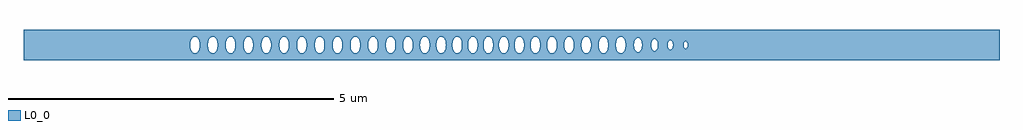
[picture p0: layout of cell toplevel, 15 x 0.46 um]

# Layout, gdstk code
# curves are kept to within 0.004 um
import gdstk
lib = gdstk.Library(unit=1e-6, precision=1e-09)
def P(c, l, *ps):  # polygons
    for p in ps: c.add(gdstk.Polygon(p, *l))
L0_0 = (0, 0)

toplevel = lib.new_cell('toplevel')
P(toplevel, L0_0, [(-4.294,-0.231),(-4.294,-0.124),(-4.331,-0.128),(-4.361,-0.106),(-4.38,-0.07),(-4.391,-0.016),(-4.388,0.04),(-4.361,0.106),(-4.331,0.128),(-4.294,0.124),(-4.294,0.231),(-7.5,0.231),(-7.5,-0.008),(-4.939,-0.008),(-4.937,0.032),(-4.925,0.077),(-4.897,0.118),(-4.87,0.13),(-4.842,0.124),(-4.814,0.095),(-4.796,0.048),(-4.791,-0.016),(-4.665,-0.016),(-4.662,0.04),(-4.651,0.077),(-4.623,0.118),(-4.596,0.13),(-4.568,0.124),(-4.54,0.095),(-4.524,0.056),(-4.517,0.008),(-4.519,-0.032),(-4.531,-0.077),(-4.555,-0.114),(-4.586,-0.13),(-4.61,-0.126),(-4.635,-0.106),(-4.654,-0.07),(-4.665,-0.016),(-4.791,-0.016),(-4.802,-0.07),(-4.821,-0.106),(-4.842,-0.124),(-4.87,-0.13),(-4.897,-0.118),(-4.916,-0.095),(-4.932,-0.056),(-4.939,-0.008),(-7.5,-0.008),(-7.5,-0.231)],
  [(-3.565,0.045),(-3.546,0.095),(-3.546,0.231),(-4.294,0.231),(-4.294,0.124),(-4.27,0.101),(-4.257,0.077),(-4.245,0.032),(-4.244,-0.016),(-4.117,-0.016),(-4.114,0.04),(-4.103,0.077),(-4.075,0.118),(-4.048,0.13),(-4.02,0.124),(-3.996,0.101),(-3.976,0.056),(-3.969,0),(-3.844,0),(-3.837,0.056),(-3.817,0.101),(-3.788,0.126),(-3.756,0.128),(-3.726,0.106),(-3.712,0.083),(-3.702,0.056),(-3.695,0),(-3.702,-0.056),(-3.712,-0.083),(-3.738,-0.118),(-3.765,-0.13),(-3.792,-0.124),(-3.817,-0.101),(-3.837,-0.056),(-3.844,0),(-3.969,0),(-3.974,-0.048),(-3.989,-0.089),(-4.012,-0.118),(-4.039,-0.13),(-4.066,-0.124),(-4.091,-0.101),(-4.106,-0.07),(-4.117,-0.016),(-4.244,-0.016),(-4.257,-0.077),(-4.27,-0.101),(-4.294,-0.124),(-4.294,-0.231),(-3.546,-0.231),(-3.546,-0.095),(-3.565,-0.048),(-3.57,-0.008)],
  [(-3.539,0.106),(-3.519,0.124),(-3.5,0.13),(-3.464,0.118),(-3.448,0.101),(-3.433,0.07),(-3.422,-0.008),(-3.296,-0.008),(-3.291,0.048),(-3.273,0.095),(-3.245,0.124),(-3.212,0.129),(-3.178,0.106),(-3.162,0.077),(-3.151,0.04),(-3.148,-0.008),(-3.022,-0.008),(-3.017,0.048),(-2.999,0.095),(-2.971,0.124),(-2.943,0.13),(-2.916,0.118),(-2.888,0.077),(-2.877,0.04),(-2.874,-0.016),(-2.885,-0.07),(-2.904,-0.106),(-2.929,-0.126),(-2.953,-0.13),(-2.979,-0.118),(-2.999,-0.095),(-3.015,-0.056),(-3.022,-0.008),(-3.148,-0.008),(-3.159,-0.07),(-3.178,-0.106),(-3.199,-0.124),(-3.226,-0.13),(-3.245,-0.124),(-3.273,-0.095),(-3.289,-0.056),(-3.296,-0.008),(-3.422,-0.008),(-3.433,-0.07),(-3.448,-0.101),(-3.468,-0.121),(-3.491,-0.13),(-3.51,-0.128),(-3.527,-0.118),(-3.546,-0.095),(-3.546,-0.231),(-2.748,-0.231),(-2.748,0.231),(-3.546,0.231),(-3.546,0.095)],
  [(-2.198,0.04),(-2.178,0.095),(-2.15,0.124),(-2.132,0.13),(-2.113,0.128),(-2.084,0.106),(-2.084,0.231),(-2.748,0.231),(-2.748,0.016),(-2.737,0.07),(-2.718,0.106),(-2.697,0.124),(-2.669,0.13),(-2.642,0.118),(-2.614,0.077),(-2.602,0.032),(-2.601,-0.016),(-2.474,-0.016),(-2.471,0.04),(-2.451,0.095),(-2.423,0.124),(-2.396,0.13),(-2.377,0.124),(-2.349,0.095),(-2.333,0.056),(-2.326,0.008),(-2.331,-0.048),(-2.349,-0.095),(-2.377,-0.124),(-2.396,-0.13),(-2.419,-0.126),(-2.444,-0.106),(-2.463,-0.07),(-2.474,-0.016),(-2.601,-0.016),(-2.611,-0.07),(-2.63,-0.106),(-2.66,-0.128),(-2.688,-0.128),(-2.706,-0.118),(-2.725,-0.095),(-2.737,-0.07),(-2.748,-0.016),(-2.748,-0.231),(-2.084,-0.231),(-2.084,-0.106),(-2.104,-0.124),(-2.122,-0.13),(-2.146,-0.126),(-2.171,-0.106),(-2.198,-0.04)],
  [(-2.054,-0.024),(-2.067,-0.077),(-2.084,-0.106),(-2.084,-0.231),(-1.376,-0.231),(-1.376,-0.106),(-1.398,-0.063),(-1.407,-0.008),(-1.4,0.056),(-1.376,0.106),(-1.376,0.231),(-2.084,0.231),(-2.084,0.106),(-2.06,0.056),(-2.053,-0.008),(-1.931,-0.008),(-1.929,0.032),(-1.917,0.077),(-1.893,0.114),(-1.862,0.13),(-1.834,0.124),(-1.806,0.095),(-1.786,0.04),(-1.783,-0.008),(-1.666,-0.008),(-1.661,0.048),(-1.639,0.101),(-1.606,0.128),(-1.587,0.13),(-1.564,0.121),(-1.544,0.101),(-1.529,0.07),(-1.521,0.04),(-1.518,-0.016),(-1.529,-0.07),(-1.544,-0.101),(-1.578,-0.128),(-1.606,-0.128),(-1.639,-0.101),(-1.657,-0.063),(-1.666,-0.008),(-1.783,-0.008),(-1.79,-0.056),(-1.806,-0.095),(-1.825,-0.118),(-1.852,-0.13),(-1.88,-0.124),(-1.908,-0.095),(-1.924,-0.056),(-1.931,-0.008),(-2.053,-0.008)],
  [(-1.356,0.124),(-1.319,0.128),(-1.289,0.106),(-1.266,0.056),(-1.259,-0.008),(-1.155,-0.008),(-1.148,0.056),(-1.135,0.089),(-1.112,0.118),(-1.085,0.13),(-1.058,0.124),(-1.033,0.101),(-1.01,0.04),(-1.007,-0.008),(-0.909,-0.008),(-0.904,0.048),(-0.882,0.101),(-0.858,0.124),(-0.825,0.129),(-0.791,0.106),(-0.775,0.077),(-0.764,0.04),(-0.761,-0.016),(-0.772,-0.07),(-0.787,-0.101),(-0.812,-0.124),(-0.839,-0.13),(-0.866,-0.118),(-0.889,-0.089),(-0.904,-0.048),(-0.909,-0.008),(-1.007,-0.008),(-1.014,-0.056),(-1.033,-0.101),(-1.058,-0.124),(-1.085,-0.13),(-1.112,-0.118),(-1.135,-0.089),(-1.148,-0.056),(-1.155,-0.008),(-1.259,-0.008),(-1.27,-0.07),(-1.301,-0.118),(-1.337,-0.13),(-1.356,-0.124),(-1.376,-0.106),(-1.376,-0.231),(-0.661,-0.231),(-0.661,-0.056),(-0.668,-0.008),(-0.661,0.055),(-0.661,0.231),(-1.376,0.231),(-1.376,0.106)],
  [(-0.188,0.048),(-0.162,0.106),(-0.142,0.124),(-0.109,0.129),(-0.091,0.121),(-0.071,0.101),(-0.056,0.07),(-0.045,0.016),(-0.045,0.231),(-0.661,0.231),(-0.661,0.056),(-0.645,0.095),(-0.63,0.114),(-0.608,0.128),(-0.58,0.128),(-0.55,0.106),(-0.534,0.077),(-0.523,0.04),(-0.52,-0.008),(-0.43,-0.008),(-0.425,0.048),(-0.407,0.095),(-0.379,0.124),(-0.351,0.13),(-0.324,0.118),(-0.305,0.095),(-0.293,0.07),(-0.282,0.016),(-0.285,-0.04),(-0.296,-0.077),(-0.324,-0.118),(-0.351,-0.13),(-0.379,-0.124),(-0.407,-0.095),(-0.423,-0.056),(-0.43,-0.008),(-0.52,-0.008),(-0.527,-0.056),(-0.543,-0.095),(-0.562,-0.118),(-0.589,-0.13),(-0.608,-0.128),(-0.634,-0.11),(-0.661,-0.057),(-0.661,-0.231),(-0.045,-0.231),(-0.045,-0.016),(-0.056,-0.07),(-0.075,-0.106),(-0.105,-0.128),(-0.142,-0.124),(-0.166,-0.101),(-0.186,-0.056),(-0.193,-0.008)],
  [(0.549,0.014),(0.557,0.063),(0.579,0.106),(0.608,0.128),(0.627,0.13),(0.65,0.121),(0.65,0.231),(-0.045,0.231),(-0.045,-0.016),(0.047,-0.016),(0.05,0.04),(0.061,0.077),(0.089,0.118),(0.116,0.13),(0.144,0.124),(0.175,0.089),(0.19,0.048),(0.194,-0.016),(0.293,-0.016),(0.296,0.04),(0.307,0.077),(0.335,0.118),(0.362,0.13),(0.39,0.124),(0.418,0.095),(0.434,0.056),(0.441,0.008),(0.436,-0.048),(0.418,-0.095),(0.39,-0.124),(0.371,-0.13),(0.348,-0.126),(0.323,-0.106),(0.304,-0.07),(0.293,-0.016),(0.194,-0.016),(0.186,-0.063),(0.168,-0.101),(0.144,-0.124),(0.125,-0.13),(0.098,-0.124),(0.073,-0.101),(0.058,-0.07),(0.047,-0.016),(-0.045,-0.016),(-0.045,-0.231),(0.65,-0.231),(0.65,-0.121),(0.627,-0.13),(0.608,-0.128),(0.575,-0.101),(0.553,-0.048)],
  [(0.693,-0.04),(0.673,-0.095),(0.65,-0.121),(0.65,-0.231),(1.457,-0.231),(1.457,-0.106),(1.436,-0.124),(1.418,-0.13),(1.381,-0.118),(1.35,-0.07),(1.339,-0.016),(1.342,0.04),(1.369,0.106),(1.39,0.124),(1.408,0.13),(1.436,0.124),(1.457,0.106),(1.457,0.231),(0.65,0.231),(0.65,0.121),(0.666,0.106),(0.685,0.07),(0.696,-0.008),(0.81,-0.008),(0.817,0.056),(0.83,0.089),(0.853,0.118),(0.88,0.13),(0.907,0.124),(0.932,0.101),(0.955,0.04),(0.958,-0.016),(1.075,-0.016),(1.078,0.04),(1.089,0.077),(1.105,0.106),(1.139,0.129),(1.163,0.128),(1.192,0.106),(1.218,0.048),(1.223,-0.008),(1.209,-0.077),(1.18,-0.118),(1.153,-0.13),(1.126,-0.124),(1.101,-0.101),(1.086,-0.07),(1.075,-0.016),(0.958,-0.016),(0.947,-0.07),(0.932,-0.101),(0.912,-0.121),(0.889,-0.13),(0.861,-0.124),(0.837,-0.101),(0.819,-0.063),(0.81,-0.008),(0.696,-0.008)],
  [(2.146,0.018),(2.164,0.072),(2.164,0.231),(1.457,0.231),(1.457,0.106),(1.482,0.048),(1.486,-0.016),(1.606,-0.016),(1.609,0.04),(1.62,0.077),(1.648,0.118),(1.675,0.13),(1.703,0.124),(1.731,0.095),(1.749,0.048),(1.753,-0.014),(1.881,-0.014),(1.884,0.035),(1.895,0.071),(1.91,0.095),(1.941,0.112),(1.964,0.107),(1.982,0.091),(1.996,0.066),(2.008,0.014),(2.005,-0.035),(1.996,-0.066),(1.979,-0.095),(1.96,-0.109),(1.929,-0.109),(1.91,-0.095),(1.893,-0.066),(1.881,-0.014),(1.753,-0.014),(1.747,-0.056),(1.731,-0.095),(1.711,-0.118),(1.685,-0.13),(1.661,-0.126),(1.636,-0.106),(1.617,-0.07),(1.606,-0.016),(1.486,-0.016),(1.476,-0.07),(1.457,-0.106),(1.457,-0.231),(2.164,-0.231),(2.164,-0.072),(2.15,-0.04)],
  [(2.173,0.082),(2.201,0.094),(2.227,0.079),(2.248,0.035),(2.251,-0.009),(2.398,-0.009),(2.406,0.044),(2.418,0.064),(2.435,0.075),(2.454,0.072),(2.472,0.052),(2.481,0.028),(2.483,-0.011),(2.644,-0.011),(2.65,0.034),(2.672,0.057),(2.697,0.044),(2.709,0),(2.7,-0.039),(2.68,-0.057),(2.657,-0.046),(2.644,-0.011),(2.483,-0.011),(2.472,-0.052),(2.446,-0.075),(2.428,-0.072),(2.413,-0.058),(2.398,-0.009),(2.251,-0.009),(2.245,-0.045),(2.221,-0.085),(2.195,-0.094),(2.175,-0.085),(2.164,-0.072),(2.164,-0.231),(7.5,-0.231),(7.5,0.231),(2.164,0.231),(2.164,0.072)])

lib.write_gds('toplevel.gds')
